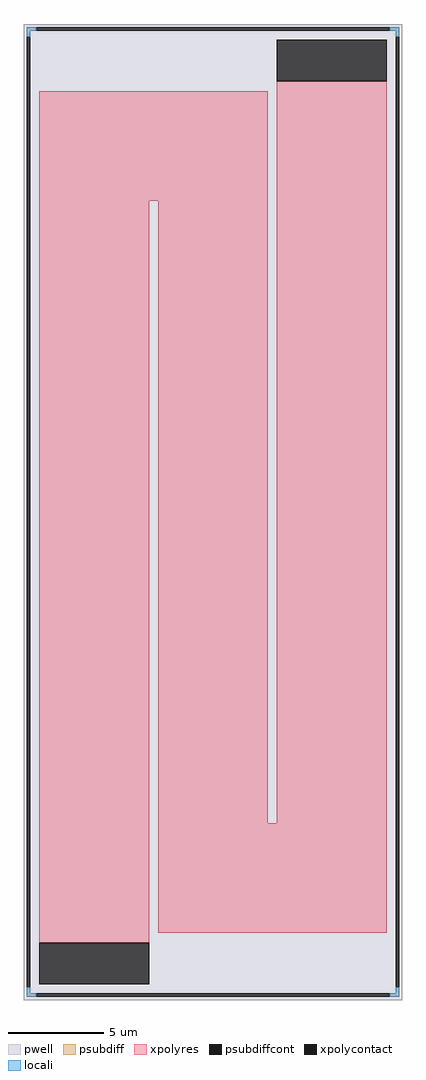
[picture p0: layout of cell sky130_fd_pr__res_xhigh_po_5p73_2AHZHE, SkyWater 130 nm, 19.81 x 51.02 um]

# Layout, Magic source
magic
tech sky130A
magscale 1 2
<< pwell >>
rect -1981 -5102 1981 5102
<< psubdiff >>
rect -1945 5032 -1849 5066
rect 1849 5032 1945 5066
rect -1945 4970 -1911 5032
rect 1911 4970 1945 5032
rect -1945 -5032 -1911 -4970
rect 1911 -5032 1945 -4970
rect -1945 -5066 -1849 -5032
rect 1849 -5066 1945 -5032
<< psubdiffcont >>
rect -1849 5032 1849 5066
rect -1945 -4970 -1911 4970
rect 1911 -4970 1945 4970
rect -1849 -5066 1849 -5032
<< xpolycontact >>
rect 669 4504 1815 4936
rect -1815 -4936 -669 -4504
<< xpolyres >>
rect -1815 3254 573 4400
rect -1815 -4504 -669 3254
rect -573 -3254 573 3254
rect 669 -3254 1815 4504
rect -573 -4400 1815 -3254
<< locali >>
rect -1945 5032 -1849 5066
rect 1849 5032 1945 5066
rect -1945 4970 -1911 5032
rect 1911 4970 1945 5032
rect -1945 -5032 -1911 -4970
rect 1911 -5032 1945 -4970
rect -1945 -5066 -1849 -5032
rect 1849 -5066 1945 -5032
<< properties >>
string FIXED_BBOX -1928 -5049 1928 5049
string gencell sky130_fd_pr__res_xhigh_po_5p73
string library sky130
string parameters w 5.73 l 44.0 m 1 nx 3 wmin 5.730 lmin 0.50 rho 2000 val 50.138k dummy 0 dw 0.0 term 188.2 sterm 0.0 caplen 0 wmax 5.730 guard 1 glc 1 grc 1 gtc 1 gbc 1 compatible {sky130_fd_pr__res_xhigh_po_0p35  sky130_fd_pr__res_xhigh_po_0p69 sky130_fd_pr__res_xhigh_po_1p41  sky130_fd_pr__res_xhigh_po_2p85 sky130_fd_pr__res_xhigh_po_5p73} snake 1 full_metal 1 n_guard 0 hv_guard 0 vias 1 viagb 0 viagt 0 viagl 0 viagr 0
<< end >>
